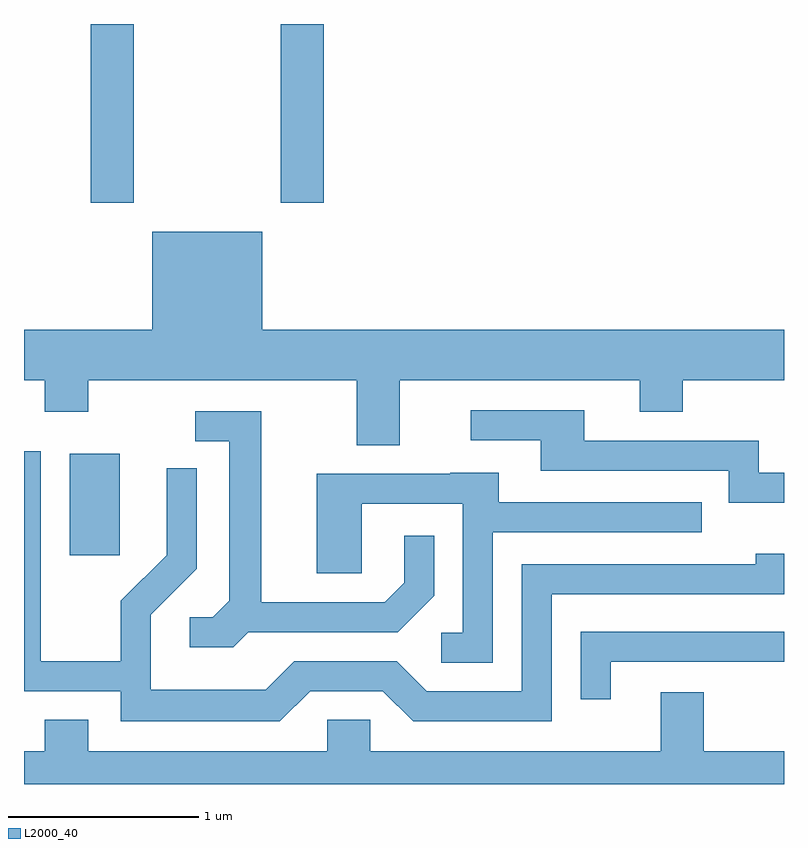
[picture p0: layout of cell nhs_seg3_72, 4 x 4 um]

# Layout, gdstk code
import gdstk
lib = gdstk.Library(unit=1e-6, precision=1e-09)
def R(c, l, rs):  # rectangles x0, y0, x1, y1
    for r in rs: c.add(gdstk.rectangle(r[:2], r[2:], *l))
def P(c, l, *ps):  # polygons
    for p in ps: c.add(gdstk.Polygon(p, *l))
L2000_40 = (2000, 40)

nhs_seg3_72 = lib.new_cell('nhs_seg3_72')
R(nhs_seg3_72, L2000_40, [(187.851,1125.096,188.114,1125.629), (187.961,1126.951,188.189,1127.892), (188.961,1126.951,189.189,1127.892)])
P(nhs_seg3_72, L2000_40, [(189.589,1126.016),(190.851,1126.016),(190.851,1125.851),(191.079,1125.851),(191.079,1126.016),(191.611,1126.016),(191.611,1126.284),(188.864,1126.284),(188.864,1126.799),(188.286,1126.799),(188.286,1126.284),(187.611,1126.284),(187.611,1126.016),(187.721,1126.016),(187.721,1125.851),(187.949,1125.851),(187.949,1126.016),(189.361,1126.016),(189.361,1125.676),(189.589,1125.676)],
  [(191.611,1125.529),(191.479,1125.529),(191.479,1125.699),(190.559,1125.699),(190.559,1125.859),(189.963,1125.859),(189.963,1125.701),(190.331,1125.701),(190.331,1125.541),(191.321,1125.541),(191.321,1125.371),(191.611,1125.371)],
  [(188.792,1124.691),(189.577,1124.691),(189.769,1124.884),(189.769,1125.198),(189.611,1125.198),(189.611,1124.952),(189.509,1124.849),(188.859,1124.849),(188.859,1125.854),(188.513,1125.854),(188.513,1125.696),(188.691,1125.696),(188.691,1124.857),(188.604,1124.769),(188.483,1124.769),(188.483,1124.611),(188.712,1124.611)],
  [(189.117,1124.381),(189.499,1124.381),(189.659,1124.221),(190.389,1124.221),(190.389,1124.891),(191.611,1124.891),(191.611,1125.104),(191.461,1125.104),(191.461,1125.049),(190.231,1125.049),(190.231,1124.379),(189.732,1124.379),(189.572,1124.539),(189.034,1124.539),(188.884,1124.389),(188.279,1124.389),(188.279,1124.784),(188.519,1125.024),(188.519,1125.553),(188.361,1125.553),(188.361,1125.097),(188.121,1124.857),(188.121,1124.539),(187.699,1124.539),(187.699,1125.644),(187.611,1125.644),(187.611,1124.381),(188.121,1124.381),(188.121,1124.221),(188.957,1124.221)],
  [(190.079,1125.216),(191.178,1125.216),(191.178,1125.374),(190.109,1125.374),(190.109,1125.529),(189.855,1125.529),(189.855,1125.524),(189.151,1125.524),(189.151,1125.001),(189.389,1125.001),(189.389,1125.366),(189.921,1125.366),(189.921,1124.689),(189.808,1124.689),(189.808,1124.531),(190.079,1124.531)],
  [(190.699,1124.536),(191.611,1124.536),(191.611,1124.694),(190.541,1124.694),(190.541,1124.338),(190.699,1124.338)],
  [(191.611,1124.064),(191.189,1124.064),(191.189,1124.374),(190.961,1124.374),(190.961,1124.064),(189.434,1124.064),(189.434,1124.229),(189.206,1124.229),(189.206,1124.064),(187.949,1124.064),(187.949,1124.229),(187.721,1124.229),(187.721,1124.064),(187.611,1124.064),(187.611,1123.892),(191.611,1123.892)])

lib.write_gds('nhs_seg3_72.gds')
